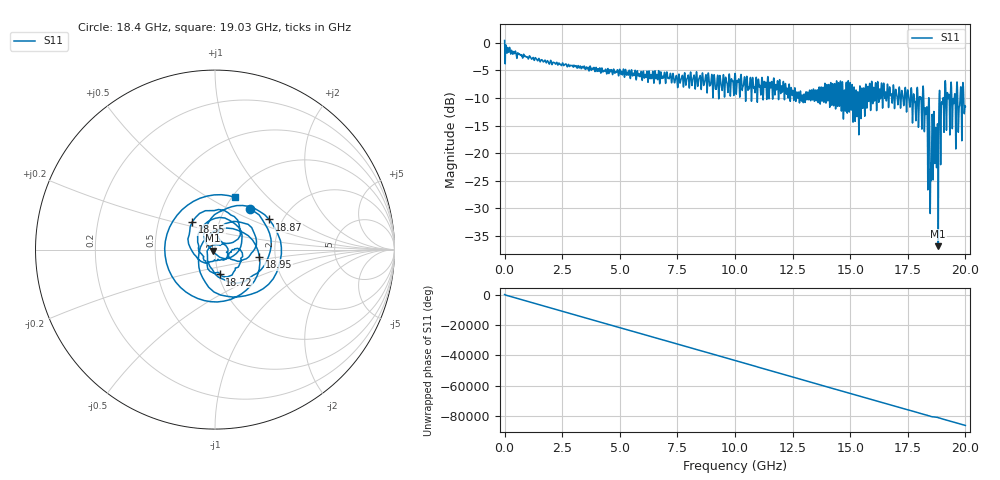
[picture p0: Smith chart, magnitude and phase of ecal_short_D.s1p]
! MS46122B
! 2250307/22442219
! 7/25/2025 1:32:19 PM
! C:\USERS\SPARKY\DOCUMENTS\VNA_DATA\JULY25_2025\3K\ECAL_SHORT_D.S1P
! CHANNEL.1
! TR.MEASUREMENT
! RAW.DATA
# GHZ S RI R 50.0
! FREQ.GHZ  S11RE  S11IM
!; PortSelection: Port_1
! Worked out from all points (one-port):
!   10001 points, 1 MHz to 20 GHz, reference 50 ohm
!   lowest |S11| = -36.8 dB at 18.82 GHz (marker M1), VSWR 1.03, Z = 48.7 - j0.53 ohm
!   |S11| at or under -10 dB: 18.19 GHz to 18.41 GHz (225 MHz wide, 1.23 % of centre); 18.42 GHz to 18.86 GHz (440.9 MHz wide, 2.37 % of centre); 18.89 GHz to 19.03 GHz (134.9 MHz wide, 0.711 % of centre) (the widest 3 of 86)
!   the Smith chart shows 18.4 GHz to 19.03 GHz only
!   S11 on the Smith chart (normalised r, x): 18.4 GHz: 1.30, +0.65; 18.55 GHz: 0.74, +0.24; 18.72 GHz: 1.01, -0.29; 18.87 GHz: 1.71, +0.65; 18.95 GHz: 1.65, -0.14; 19.03 GHz: 1.04, +0.67
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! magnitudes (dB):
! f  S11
! 1 MHz  0.4
! 2.501 GHz  -3.8
! 5.001 GHz  -4.8
! 7.501 GHz  -7.8
! 10 GHz  -5.6
! 12.5 GHz  -8.9
! 15 GHz  -7.2
! 15.29 GHz  -13.4
! 16.02 GHz  -8.1
! 17.5 GHz  -8.6
! 18.1 GHz  -13.4
! 18.24 GHz  -12.5
! 18.29 GHz  -12.8
! 18.35 GHz  -14.5
! 18.4 GHz  -10.5
! 18.55 GHz  -14.0
! 18.63 GHz  -12.5
! 18.72 GHz  -17.0
! 18.75 GHz  -22.5
! 18.82 GHz  -36.8
! 18.87 GHz  -9.2
! 18.95 GHz  -12.0
! 19.03 GHz  -10.1
! 19.2 GHz  -11.3
! 19.25 GHz  -10.1
! 19.46 GHz  -10.8
! 19.51 GHz  -10.8
! 20 GHz  -11.6
